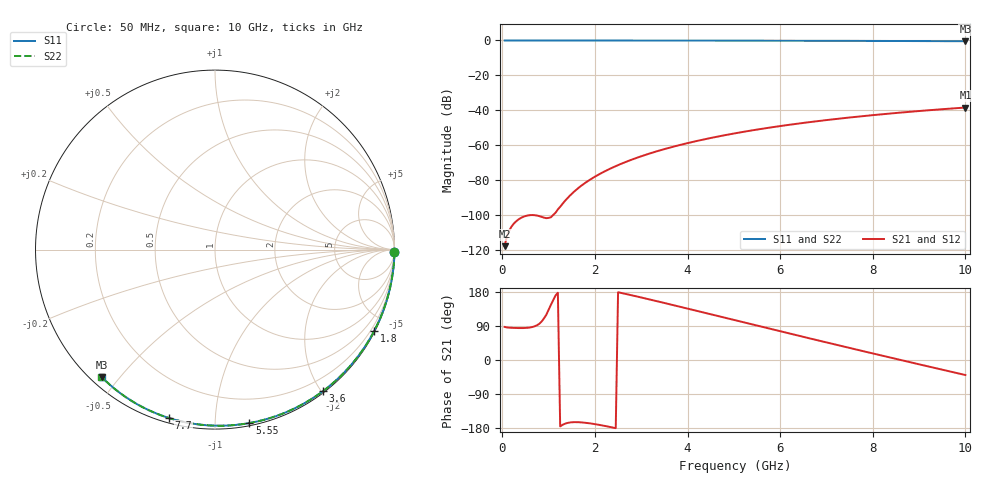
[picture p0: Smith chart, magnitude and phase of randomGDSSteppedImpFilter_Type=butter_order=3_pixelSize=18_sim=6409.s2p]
! freq	dB(S11)	phase(S11)	dB(S12)	phase(S12)
!  dB(S21)	phase(S21)	dB(S22)	phase(S22)
!S-par simulation data
#  GHz  S  DB  R 50
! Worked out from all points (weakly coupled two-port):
!   200 points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, 50 MHz to 10 GHz, reference 50 ohm
!   highest |S21| = -38.41 dB at 10 GHz (marker M1); lowest = -117.8 dB at 50 MHz (marker M2)
!   lowest |S11| = -0.4 dB at 10 GHz (marker M3), VSWR 39.01, Z = 1.54 - j22.4 ohm
!   |S11| at or under -10 dB: nowhere
!   |S22| runs from -0.4 to 0.0 dB; largest |S21 - S12| = 0
!   S11 on the Smith chart (normalised r, x): 50 MHz: open; 1.8 GHz: 0.04, -4.17; 3.6 GHz: 0.02, -2.02; 5.55 GHz: 0.02, -1.22; 7.7 GHz: 0.02, -0.76; 10 GHz: 0.03, -0.45
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0.05  -0.00 -0.8  -117.80 87.3  -117.80 87.3  -0.00 -0.8
0.9  -0.02 -13.6  -101.46 109.8  -101.46 109.8  -0.02 -13.6
1.75  -0.03 -26.3  -82.32 -165.1  -82.32 -165.1  -0.03 -26.3
1.8  -0.03 -27.0  -81.38 -165.7  -81.38 -165.7  -0.03 -27.0
1.85  -0.04 -27.7  -80.49 -166.5  -80.49 -166.5  -0.04 -27.7
1.9  -0.04 -28.5  -79.63 -167.3  -79.63 -167.3  -0.04 -28.5
2.05  -0.04 -30.7  -77.24 -170.3  -77.24 -170.3  -0.04 -30.7
2.25  -0.04 -33.6  -74.43 -174.8  -74.43 -174.8  -0.04 -33.6
2.45  -0.05 -36.5  -71.95 -179.9  -71.95 -179.9  -0.05 -36.5
2.65  -0.05 -39.4  -69.73 174.8  -69.73 174.8  -0.05 -39.4
3  -0.06 -44.4  -66.32 165.0  -66.32 165.0  -0.06 -44.4
3.4  -0.07 -50.0  -62.98 153.4  -62.98 153.4  -0.07 -50.0
3.6  -0.07 -52.8  -61.49 147.5  -61.49 147.5  -0.07 -52.8
4.3  -0.09 -62.4  -56.98 126.7  -56.98 126.7  -0.09 -62.4
5.05  -0.11 -72.3  -53.05 104.3  -53.05 104.3  -0.11 -72.4
5.55  -0.13 -78.8  -50.82 89.3  -50.82 89.3  -0.13 -78.9
6.1  -0.15 -85.8  -48.65 72.9  -48.65 72.9  -0.15 -85.8
6.7  -0.18 -93.2  -46.55 55.2  -46.55 55.2  -0.18 -93.3
7.7  -0.24 -105.3  -43.56 26.0  -43.56 26.0  -0.24 -105.3
8.35  -0.29 -112.9  -41.90 7.2  -41.90 7.2  -0.29 -112.9
9.15  -0.36 -122.1  -40.09 -15.6  -40.09 -15.6  -0.36 -122.1
10  -0.45 -131.7  -38.41 -39.7  -38.41 -39.7  -0.45 -131.8
